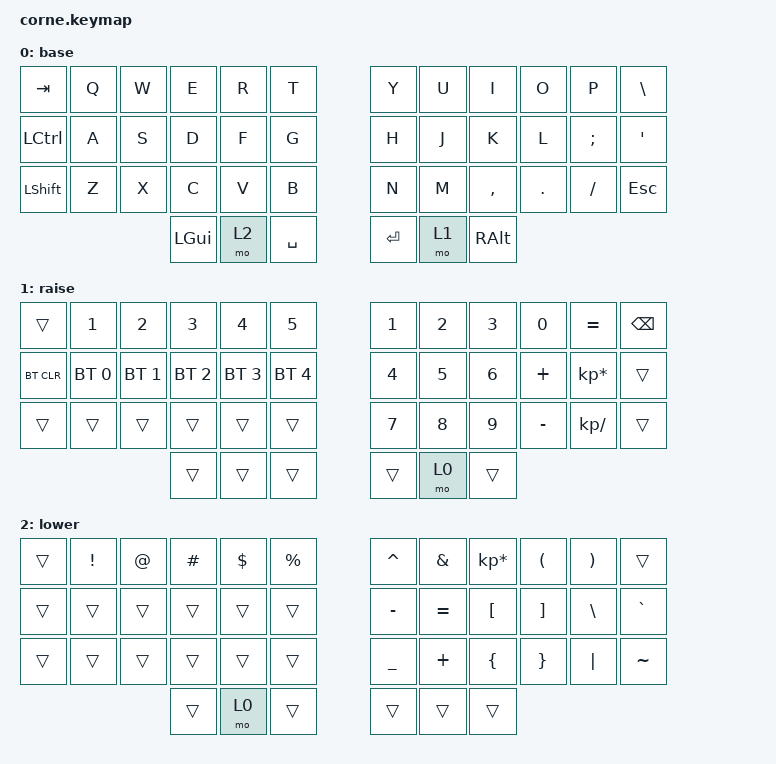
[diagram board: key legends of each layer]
/*
 * Copyright (c) 2020 The ZMK Contributors
 *
 * SPDX-License-Identifier: MIT
 */

#include <behaviors.dtsi>
#include <dt-bindings/zmk/bt.h>
#include <dt-bindings/zmk/keys.h>

// dt-formatter: indent = "  "
// dt-formatter: reindentMultilineIntegerCells = "dedent"

/ {
  behaviors {
    hm: homerow_mods {
      compatible = "zmk,behavior-hold-tap";
      label = "HOMEROW_MODS";
      #binding-cells = <2>;
      tapping-term-ms = <150>;
      quick-tap-ms = <0>;
      flavor = "tap-preferred";
      bindings =
        <&kp>,
        <&kp>;
    };
  };

  combos {
    compatible = "zmk,combos";

    tab {
      bindings = <&trans>;
      key-positions = <2 3>;
    };

    ctrl {
      bindings = <&kp LCTRL>;
      key-positions = <26 27>;
    };

    cmd {
      bindings = <&kp LCMD>;
      key-positions = <37 38>;
    };

    alt {
      bindings = <&kp LEFT_ALT>;
      key-positions = <39 40>;
    };

    shift {
      bindings = <&kp LSHIFT>;
      key-positions = <8 9>;
    };

    caps_word {
      bindings = <&caps_word>;
      key-positions = <17 18>;
    };

    delete {
      bindings = <&kp DEL>;
      key-positions = <32 33>;
    };
  };

  macros {
    zed_em_kay: zed_em_kay {
      compatible = "zmk,behavior-macro";
      label = "ZM_zed_em_kay";
      #binding-cells = <0>;
      bindings =
        <&macro_press>,
        <&kp LSHFT>,
        <&macro_tap>,
        <&kp Z &kp M &kp K>,
        <&macro_release>,
        <&kp LSHFT>;
    };
  };

  keymap {
    compatible = "zmk,keymap";

    base {
      bindings = <
&kp TAB    &kp Q  &kp W  &kp E     &kp R  &kp T        &kp Y    &kp U  &kp I      &kp O    &kp P          &kp BSLH
&kp LCTRL  &kp A  &kp S  &kp D     &kp F  &kp G        &kp H    &kp J  &kp K      &kp L    &kp SEMICOLON  &kp APOS
&kp LSHFT  &kp Z  &kp X  &kp C     &kp V  &kp B        &kp N    &kp M  &kp COMMA  &kp DOT  &kp FSLH       &kp ESC
                         &kp LGUI  &mo 2  &kp SPACE    &kp RET  &mo 1  &kp RALT
      >;
    };

    raise {
      bindings = <
&trans      &kp N1        &kp N2        &kp N3        &kp N4        &kp N5          &kp N1        &kp NUMBER_2  &kp NUMBER_3  &kp NUMBER_0  &kp EQUAL        &kp BACKSPACE
&bt BT_CLR  &bt BT_SEL 0  &bt BT_SEL 1  &bt BT_SEL 2  &bt BT_SEL 3  &bt BT_SEL 4    &kp NUMBER_4  &kp NUMBER_5  &kp NUMBER_6  &kp PLUS      &kp KP_MULTIPLY  &trans
&trans      &trans        &trans        &trans        &trans        &trans          &kp NUMBER_7  &kp NUMBER_8  &kp NUMBER_9  &kp MINUS     &kp KP_DIVIDE    &trans
                                        &trans        &trans        &trans          &trans        &mo 0         &trans
      >;
    };

    lower {
      bindings = <
&trans  &kp EXCL  &kp AT  &kp HASH  &kp DLLR  &kp PRCNT    &kp CARET  &kp AMPS   &kp KP_MULTIPLY  &kp LPAR  &kp RPAR  &trans
&trans  &trans    &trans  &trans    &trans    &trans       &kp MINUS  &kp EQUAL  &kp LBKT         &kp RBKT  &kp BSLH  &kp GRAVE
&trans  &trans    &trans  &trans    &trans    &trans       &kp UNDER  &kp PLUS   &kp LBRC         &kp RBRC  &kp PIPE  &kp TILDE
                          &trans    &mo 0     &trans       &trans     &trans     &trans
      >;
    };
  };
};
